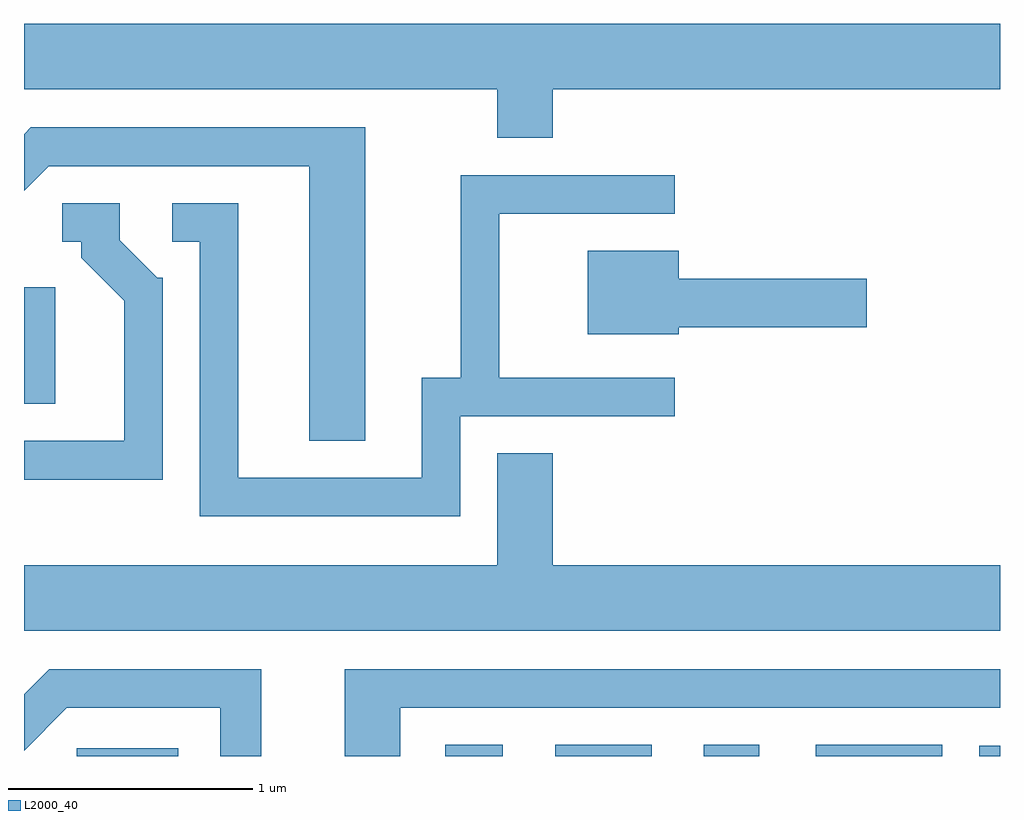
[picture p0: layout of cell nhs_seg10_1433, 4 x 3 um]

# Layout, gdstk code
import gdstk
lib = gdstk.Library(unit=1e-6, precision=1e-09)
def R(c, l, rs):  # rectangles x0, y0, x1, y1
    for r in rs: c.add(gdstk.rectangle(r[:2], r[2:], *l))
def P(c, l, *ps):  # polygons
    for p in ps: c.add(gdstk.Polygon(p, *l))
L2000_40 = (2000, 40)

nhs_seg10_1433 = lib.new_cell('nhs_seg10_1433')
R(nhs_seg10_1433, L2000_40, [(227.828,2104.522,228.244,2104.554), (229.338,2104.522,229.574,2104.569), (229.788,2104.522,230.184,2104.569), (230.396,2104.522,230.624,2104.569), (230.856,2104.522,231.374,2104.569), (231.526,2104.522,231.611,2104.564), (227.611,2105.966,227.739,2106.444)])
P(nhs_seg10_1433, L2000_40, [(229.779,2107.256),(231.611,2107.256),(231.611,2107.524),(227.611,2107.524),(227.611,2107.256),(229.551,2107.256),(229.551,2107.056),(229.779,2107.056)],
  [(229.009,2107.099),(227.639,2107.099),(227.611,2107.071),(227.611,2106.84),(227.712,2106.941),(228.781,2106.941),(228.781,2105.816),(229.009,2105.816)],
  [(229.399,2105.916),(230.278,2105.916),(230.278,2106.074),(229.559,2106.074),(229.559,2106.746),(230.278,2106.746),(230.278,2106.904),(229.401,2106.904),(229.401,2106.074),(229.241,2106.074),(229.241,2105.664),(228.489,2105.664),(228.489,2106.789),(228.218,2106.789),(228.218,2106.631),(228.331,2106.631),(228.331,2105.506),(229.399,2105.506)],
  [(228.179,2106.484),(228.157,2106.484),(228.004,2106.637),(228.004,2106.789),(227.768,2106.789),(227.768,2106.631),(227.846,2106.631),(227.846,2106.564),(228.021,2106.389),(228.021,2105.814),(227.611,2105.814),(227.611,2105.656),(228.179,2105.656)],
  [(230.294,2106.281),(231.064,2106.281),(231.064,2106.479),(230.294,2106.479),(230.294,2106.594),(229.921,2106.594),(229.921,2106.251),(230.294,2106.251)],
  [(231.611,2105.304),(229.779,2105.304),(229.779,2105.764),(229.551,2105.764),(229.551,2105.304),(227.611,2105.304),(227.611,2105.036),(231.611,2105.036)],
  [(228.584,2104.879),(227.714,2104.879),(227.611,2104.776),(227.611,2104.545),(227.787,2104.721),(228.416,2104.721),(228.416,2104.522),(228.584,2104.522)],
  [(229.154,2104.721),(231.611,2104.721),(231.611,2104.879),(228.926,2104.879),(228.926,2104.522),(229.154,2104.522)])

lib.write_gds('nhs_seg10_1433.gds')
